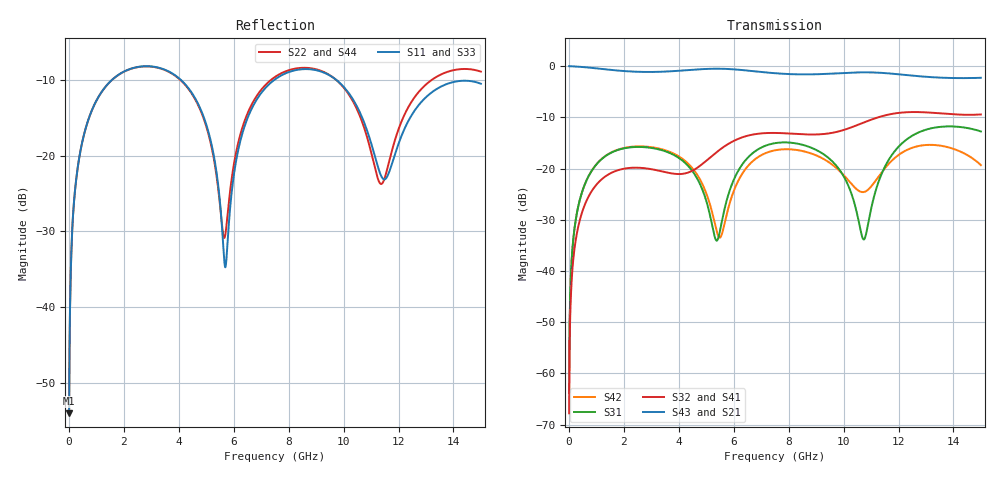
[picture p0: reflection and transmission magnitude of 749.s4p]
! Created with skrf 1.8.0 (http://scikit-rf.org).
# GHz S RI R 50.0
!freq ReS11 ImS11 ReS12 ImS12 ReS13 ImS13
! ReS14 ImS14
! ReS21 ImS21 ReS22 ImS22 ReS23 ImS23
! ReS24 ImS24
! ReS31 ImS31 ReS32 ImS32 ReS33 ImS33
! ReS34 ImS34
! ReS41 ImS41 ReS42 ImS42 ReS43 ImS43
! ReS44 ImS44
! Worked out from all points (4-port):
!   2499 points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, 5 MHz to 15 GHz, reference 50 ohm
!   strongest paths, dB at 5 MHz, 3.476 GHz, 7.19 GHz, 11.1 GHz, 15 GHz:
!     S43: 0.0, -1.1, -1.2, -1.2, -2.3
!     S21: 0.0, -1.1, -1.2, -1.2, -2.3
!     S32: -67.8, -20.7, -13.1, -10.3, -9.4
!     S41: -67.8, -20.8, -13.1, -10.3, -9.5
!     S31: -63.8, -16.6, -15.5, -25.7, -12.8
!     S42: -63.8, -16.4, -16.9, -22.9, -19.3
!   lowest |S11| = -54.1 dB at 5 MHz (marker M1), VSWR 1.00, Z = 50.2 + j0.12 ohm
!   |S11| at or under -10 dB: start of sweep to 1.554 GHz; 4.085 GHz to 7.465 GHz (3.381 GHz wide, 58.5 % of centre); 9.746 GHz to end of sweep
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0.005  0.00158 0.0012  0.9984 -0.00307  7.96e-05 0.000642  -7.73e-05 -0.0004
       0.9984 -0.00307  0.00158 0.0012  -7.73e-05 -0.0004  7.97e-05 0.000642
       7.96e-05 0.000642  -7.73e-05 -0.0004  0.00158 0.0012  0.9984 -0.00307
       -7.73e-05 -0.0004  7.97e-05 0.000642  0.9984 -0.00307  0.00158 0.0012
0.3626511  0.0283 0.0901  0.961 -0.2204  0.0136 0.0436  -0.0113 -0.0267
           0.961 -0.2204  0.0283 0.0901  -0.0113 -0.0267  0.0138 0.0436
           0.0136 0.0436  -0.0113 -0.0267  0.0283 0.0902  0.961 -0.2204
           -0.0113 -0.0267  0.0138 0.0436  0.961 -0.2204  0.0283 0.0902
1.619545  0.2714 0.1769  0.5463 -0.7312  0.1308 0.0653  -0.0924 -0.00557
          0.5463 -0.7312  0.2705 0.1774  -0.0926 -0.00535  0.1337 0.0613
          0.1308 0.0653  -0.0926 -0.00535  0.2713 0.1769  0.5463 -0.7312
          -0.0924 -0.00557  0.1337 0.0613  0.5463 -0.7312  0.2705 0.1773
5.689871  0.0183 -0.00106  -0.9375 -0.0621  0.0294 0.0313  -0.0081 0.1662
          -0.9375 -0.0621  0.0289 0.00737  -0.0041 0.1664  -0.0152 0.027
          0.0294 0.0313  -0.0041 0.1664  0.0198 -0.000185  -0.9375 -0.0621
          -0.0081 0.1662  -0.0152 0.027  -0.9375 -0.0621  0.0271 0.00826
8.866194  0.3704 -0.0316  0.024 0.8306  0.1194 -0.1033  0.2048 -0.058
          0.024 0.8306  0.3746 -0.0482  0.2044 -0.0661  0.1133 -0.0804
          0.1194 -0.1033  0.2044 -0.0661  0.3696 -0.0299  0.0232 0.8306
          0.2048 -0.058  0.1133 -0.0804  0.0232 0.8306  0.3757 -0.049
10.73572  0.117 -0.1209  0.7464 0.4452  -0.0202 0.00152  0.146 -0.2407
          0.7464 0.4452  0.1053 -0.115  0.1345 -0.2471  -0.0581 -0.0102
          -0.0202 0.00152  0.1345 -0.2471  0.1209 -0.1187  0.7458 0.4463
          0.146 -0.2407  -0.0581 -0.0102  0.7458 0.4463  0.1009 -0.1166
15  0.2945 -0.0542  -0.1068 -0.7614  0.0864 -0.2133  -0.3238 0.0841
    -0.1068 -0.7614  0.3416 -0.1136  -0.3203 0.1061  0.0827 -0.0695
    0.0864 -0.2133  -0.3203 0.1061  0.2941 -0.046  -0.1038 -0.7616
    -0.3238 0.0841  0.0827 -0.0695  -0.1038 -0.7616  0.3443 -0.1156
